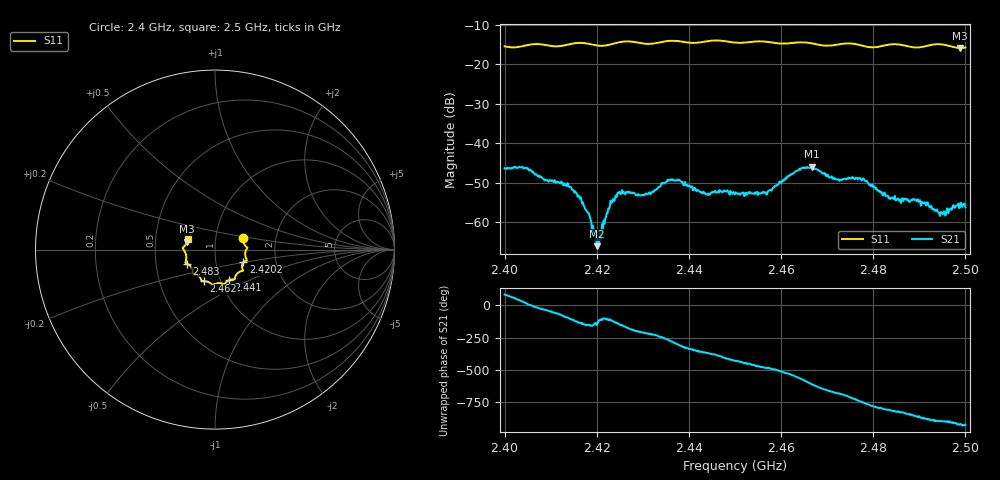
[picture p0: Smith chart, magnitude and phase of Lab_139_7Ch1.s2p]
# Hz S RI R 50
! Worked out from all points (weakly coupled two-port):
!   601 points, 2.4 GHz to 2.5 GHz, reference 50 ohm
!   highest |S21| = -45.89 dB at 2.4667 GHz (marker M1); lowest = -66.0 dB at 2.42 GHz (marker M2)
!   lowest |S11| = -15.8 dB at 2.4988 GHz (marker M3), VSWR 1.38, Z = 36.4 + j3.29 ohm
!   |S11| at or under -10 dB: start of sweep to end of sweep
!   S12 and S22 are empty: the file has one direction only
!   S11 on the Smith chart (normalised r, x): 2.4 GHz: 1.36, +0.18; 2.4202 GHz: 1.36, -0.20; 2.441 GHz: 1.10, -0.39; 2.462 GHz: 0.84, -0.30; 2.483 GHz: 0.72, -0.12; 2.5 GHz: 0.73, +0.09
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2.4e9  0.1573 0.0627  0.000578 0.00482  0 0  0 0
2.404667e9  0.1734 0.0166  0.00471 0.00124  0 0  0 0
2.413333e9  0.171 -0.0426  -1.78e-05 -0.00297  0 0  0 0
2.416667e9  0.1777 -0.0594  -0.00151 -0.00116  0 0  0 0
2.42e9  0.1594 -0.0697  -0.00045 -0.00022  0 0  0 0
2.420167e9  0.1582 -0.0709  -0.000407 -0.000456  0 0  0 0
2.4245e9  0.1537 -0.1097  -0.00183 -0.00147  0 0  0 0
2.433333e9  0.1129 -0.1508  -0.00145 0.00239  0 0  0 0
2.436167e9  0.1105 -0.1658  0.000573 0.00347  0 0  0 0
2.441e9  0.0783 -0.1701  0.00262 0.000819  0 0  0 0
2.45e9  0.0285 -0.1868  0.000848 -0.0021  0 0  0 0
2.456833e9  -0.0177 -0.193  -0.00125 -0.00187  0 0  0 0
2.462e9  -0.0603 -0.1756  -0.00403 -0.000445  0 0  0 0
2.466667e9  -0.0771 -0.168  -0.00175 0.00477  0 0  0 0
2.472333e9  -0.1159 -0.1358  0.00274 0.00219  0 0  0 0
2.4775e9  -0.1254 -0.1197  0.00299 -0.00158  0 0  0 0
2.483e9  -0.1585 -0.0775  0.000135 -0.00218  0 0  0 0
2.483333e9  -0.1605 -0.0768  6.39e-05 -0.00202  0 0  0 0
2.489667e9  -0.1618 -0.0274  -0.00162 -0.00111  0 0  0 0
2.494667e9  -0.1796 0.00965  -0.00136 -0.000119  0 0  0 0
2.498833e9  -0.1553 0.0439  -0.00145 0.000522  0 0  0 0
2.5e9  -0.1521 0.0611  -0.0014 0.000681  0 0  0 0
